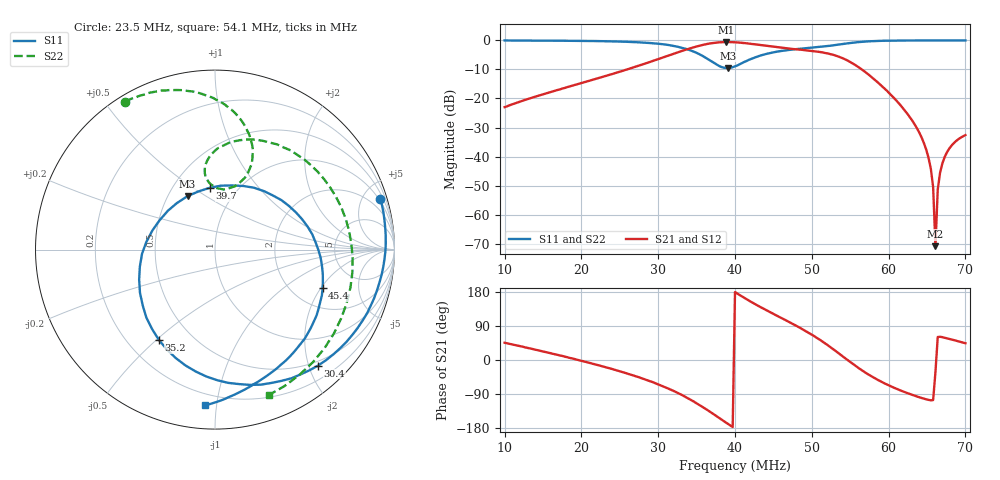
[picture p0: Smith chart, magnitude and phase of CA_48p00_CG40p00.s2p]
#  HZ  S  RI  R  50.00
! Rohde & Schwarz ZVT8 8Ports - Version 4.11 - 1300.0000k08 SN: 100242
! Date: 2026-07-31 15:10:20
! Measurements: S11 S21 S12 S22
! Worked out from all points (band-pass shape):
!   201 points, 10 MHz to 70 MHz, reference 50 ohm
!   highest |S21| = -0.57 dB at 38.8 MHz (marker M1); lowest = -70.8 dB at 66.1 MHz (marker M2)
!   |S21| within 3 dB of the highest: 33.16 MHz to 49.8 MHz (16.64 MHz wide, 40.1 % of centre)
!   lowest |S11| = -9.5 dB at 39.1 MHz (marker M3), VSWR 2.01, Z = 31.3 + j21 ohm
!   |S11| at or under -10 dB: nowhere
!   |S22| runs from -9.4 to 0.0 dB; largest |S21 - S12| = 0.0038
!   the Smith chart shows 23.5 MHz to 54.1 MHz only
!   S11 on the Smith chart (normalised r, x): 23.5 MHz: 0.81, +6.57; 30.4 MHz: 0.42, -2.16; 35.2 MHz: 0.33, -0.51; 39.7 MHz: 0.75, +0.59; 45.4 MHz: 2.89, -2.08; 54.1 MHz: 0.13, -0.93
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1e7  -0.4075 0.9092  0.0496 0.0506  0.0494 0.0505  -0.9205 0.3815
2.02e7  0.7183 0.6644  0.1871 -0.00995  0.1865 -0.00999  -0.6488 0.7325
2.35e7  0.922 0.2831  0.2352 -0.0906  0.2345 -0.0898  -0.5017 0.825
3.01e7  0.6191 -0.6157  0.2033 -0.4357  0.2043 -0.4356  -0.0805 0.8704
3.04e7  0.5743 -0.6461  0.1915 -0.4586  0.1906 -0.4595  -0.0579 0.8618
3.52e7  -0.3123 -0.5038  -0.3571 -0.7139  -0.3555 -0.7147  0.2111 0.5566
3.88e7  -0.2117 0.2596  -0.9033 -0.2453  -0.9028 -0.2465  0.0493 0.335
3.91e7  -0.1527 0.2981  -0.9181 -0.1812  -0.9187 -0.182  0.0303 0.3387
3.97e7  -0.0284 0.3447  -0.9298 -0.0515  -0.929 -0.0514  -0.00701 0.3527
4e7  0.0333 0.3562  -0.9268 0.0117  -0.9264 0.0125  -0.0216 0.3627
4.54e7  0.5999 -0.2135  -0.3521 0.6789  -0.3534 0.6792  0.1708 0.6135
5.02e7  0.3194 -0.681  0.2825 0.5893  0.2814 0.5907  0.7278 0.1722
5.23e7  0.1372 -0.7943  0.4753 0.3424  0.4756 0.3419  0.7031 -0.3831
5.41e7  -0.0541 -0.8684  0.4827 0.0716  0.4817 0.0718  0.2981 -0.8114
5.74e7  -0.4945 -0.8269  0.2012 -0.1606  0.2012 -0.1601  -0.6997 -0.6575
6.01e7  -0.7848 -0.5999  0.0468 -0.1135  0.0467 -0.1132  -0.9798 -0.1133
6.49e7  -0.9963 -0.0353  -0.00315 -0.0128  -0.00311 -0.0128  -0.8403 0.5329
6.58e7  -0.9934 0.0751  -0.000805 -0.00287  -0.000815 -0.00288  -0.788 0.6091
6.61e7  -0.9891 0.1116  0.000244 -0.000151  0.00021 -0.000134  -0.7693 0.6332
6.64e7  -0.9862 0.1467  0.00132 0.00236  0.00133 0.00235  -0.7511 0.6544
6.7e7  -0.9719 0.2184  0.00378 0.00662  0.00376 0.00657  -0.7141 0.693
7e7  -0.8332 0.5462  0.0167 0.0163  0.0167 0.0163  -0.5291 0.8443
